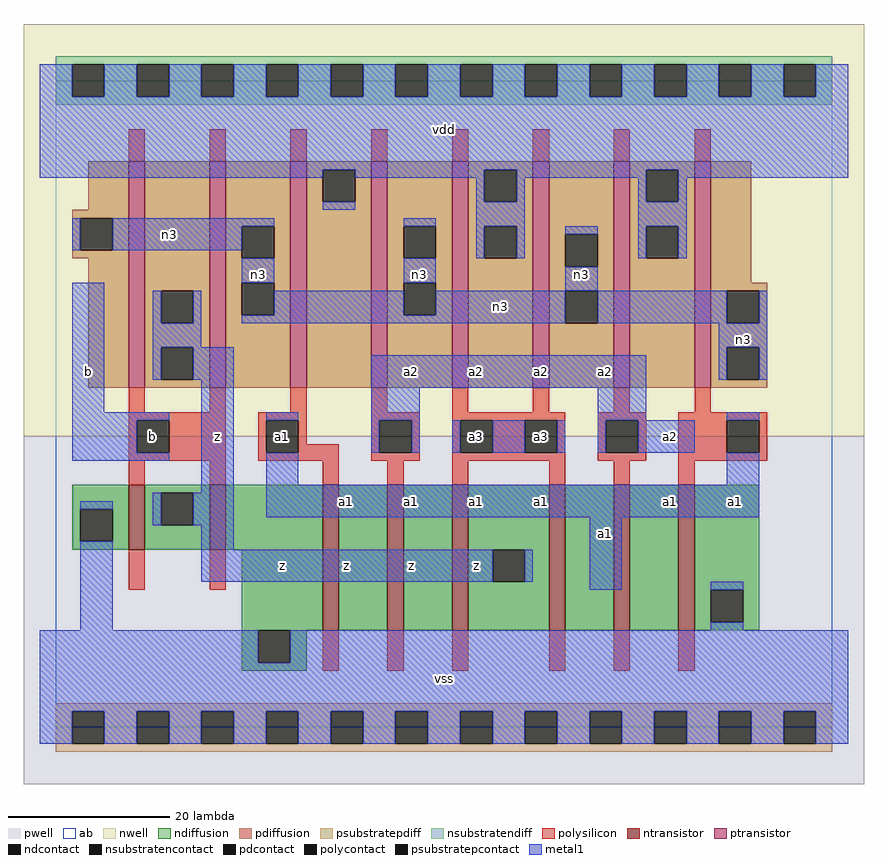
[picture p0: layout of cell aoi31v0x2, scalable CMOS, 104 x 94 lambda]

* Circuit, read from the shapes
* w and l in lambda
.subckt aoi31v0x2 a1 a2 a3 b n3 vdd vss z
M1 z b vss vss nfet w=8 l=2 m=2
M2 n1 a1 vss vss nfet w=18 l=2
M3 n2 a2 n1 vss nfet w=18 l=2
M4 z a3 n2 vss nfet w=18 l=2
M5 n4 a3 z vss nfet w=18 l=2
M6 n5 a2 n4 vss nfet w=18 l=2
M7 vss a1 n5 vss nfet w=18 l=2
M8 z b n3 vdd pfet w=28 l=2 m=2
M9 vdd a1 n3 vdd pfet w=28 l=2 m=2
M10 n3 a2 vdd vdd pfet w=28 l=2 m=2
M11 vdd a3 n3 vdd pfet w=28 l=2 m=2
.ends

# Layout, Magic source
magic
tech scmos
<< ab >>
rect 0 0 96 80
<< pwell >>
rect -4 -7 100 36
<< nwell >>
rect -4 36 100 87
<< polysilicon >>
rect 9 70 11 74
rect 19 70 21 74
rect 29 70 31 74
rect 39 70 41 74
rect 49 70 51 74
rect 59 70 61 74
rect 69 70 71 74
rect 79 70 81 74
rect 9 39 11 42
rect 19 39 21 42
rect 29 39 31 42
rect 9 38 21 39
rect 9 34 10 38
rect 14 34 21 38
rect 9 33 21 34
rect 25 38 31 39
rect 25 34 26 38
rect 30 35 31 38
rect 39 39 41 42
rect 49 39 51 42
rect 59 39 61 42
rect 69 39 71 42
rect 79 39 81 42
rect 39 38 45 39
rect 30 34 35 35
rect 25 33 35 34
rect 39 34 40 38
rect 44 34 45 38
rect 39 33 45 34
rect 49 38 63 39
rect 49 34 50 38
rect 54 34 58 38
rect 62 34 63 38
rect 49 33 63 34
rect 67 38 73 39
rect 67 34 68 38
rect 72 34 73 38
rect 67 33 73 34
rect 77 38 88 39
rect 77 34 83 38
rect 87 34 88 38
rect 77 33 88 34
rect 9 30 11 33
rect 19 30 21 33
rect 33 30 35 33
rect 41 30 43 33
rect 49 30 51 33
rect 61 30 63 33
rect 69 30 71 33
rect 77 30 79 33
rect 9 17 11 22
rect 19 17 21 22
rect 33 7 35 12
rect 41 7 43 12
rect 49 7 51 12
rect 61 7 63 12
rect 69 7 71 12
rect 77 7 79 12
<< ndiffusion >>
rect 2 27 9 30
rect 2 23 3 27
rect 7 23 9 27
rect 2 22 9 23
rect 11 29 19 30
rect 11 25 13 29
rect 17 25 19 29
rect 11 22 19 25
rect 21 22 33 30
rect 23 12 33 22
rect 35 12 41 30
rect 43 12 49 30
rect 51 22 61 30
rect 51 18 54 22
rect 58 18 61 22
rect 51 12 61 18
rect 63 12 69 30
rect 71 12 77 30
rect 79 17 87 30
rect 79 13 81 17
rect 85 13 87 17
rect 79 12 87 13
rect 23 8 25 12
rect 29 8 31 12
rect 23 7 31 8
<< pdiffusion >>
rect 4 64 9 70
rect 2 63 9 64
rect 2 59 3 63
rect 7 59 9 63
rect 2 58 9 59
rect 4 42 9 58
rect 11 54 19 70
rect 11 50 13 54
rect 17 50 19 54
rect 11 47 19 50
rect 11 43 13 47
rect 17 43 19 47
rect 11 42 19 43
rect 21 62 29 70
rect 21 58 23 62
rect 27 58 29 62
rect 21 55 29 58
rect 21 51 23 55
rect 27 51 29 55
rect 21 42 29 51
rect 31 69 39 70
rect 31 65 33 69
rect 37 65 39 69
rect 31 42 39 65
rect 41 62 49 70
rect 41 58 43 62
rect 47 58 49 62
rect 41 55 49 58
rect 41 51 43 55
rect 47 51 49 55
rect 41 42 49 51
rect 51 69 59 70
rect 51 65 53 69
rect 57 65 59 69
rect 51 62 59 65
rect 51 58 53 62
rect 57 58 59 62
rect 51 42 59 58
rect 61 61 69 70
rect 61 57 63 61
rect 67 57 69 61
rect 61 54 69 57
rect 61 50 63 54
rect 67 50 69 54
rect 61 42 69 50
rect 71 69 79 70
rect 71 65 73 69
rect 77 65 79 69
rect 71 62 79 65
rect 71 58 73 62
rect 77 58 79 62
rect 71 42 79 58
rect 81 55 86 70
rect 81 54 88 55
rect 81 50 83 54
rect 87 50 88 54
rect 81 47 88 50
rect 81 43 83 47
rect 87 43 88 47
rect 81 42 88 43
<< metal1 >>
rect -2 78 2 82
rect 6 78 10 82
rect 14 78 18 82
rect 22 78 26 82
rect 30 78 34 82
rect 38 78 42 82
rect 46 78 50 82
rect 54 78 58 82
rect 62 78 66 82
rect 70 78 74 82
rect 78 78 82 82
rect 86 78 90 82
rect 94 78 98 82
rect -2 69 98 78
rect -2 68 33 69
rect 37 68 53 69
rect 33 64 37 65
rect 52 65 53 68
rect 57 68 73 69
rect 57 65 58 68
rect 2 59 3 63
rect 7 62 27 63
rect 7 59 23 62
rect 23 55 27 58
rect 2 39 6 55
rect 12 50 13 54
rect 17 50 18 54
rect 43 62 47 63
rect 52 62 58 65
rect 72 65 73 68
rect 77 68 98 69
rect 77 65 78 68
rect 72 62 78 65
rect 52 58 53 62
rect 57 58 58 62
rect 63 61 67 62
rect 43 55 47 58
rect 27 51 43 54
rect 72 58 73 62
rect 77 58 78 62
rect 63 54 67 57
rect 47 51 63 54
rect 23 50 63 51
rect 67 50 83 54
rect 87 50 88 54
rect 12 47 18 50
rect 82 47 88 50
rect 12 43 13 47
rect 17 43 22 47
rect 2 38 14 39
rect 2 34 10 38
rect 2 33 14 34
rect 18 29 22 43
rect 39 42 73 46
rect 82 43 83 47
rect 87 43 88 47
rect 3 27 7 28
rect 12 25 13 29
rect 17 25 22 29
rect 26 38 30 39
rect 39 38 45 42
rect 67 38 73 42
rect 83 38 87 39
rect 39 34 40 38
rect 44 34 45 38
rect 49 34 50 38
rect 54 34 58 38
rect 62 34 63 38
rect 67 34 68 38
rect 72 34 79 38
rect 26 30 30 34
rect 83 30 87 34
rect 26 26 87 30
rect 3 12 7 23
rect 18 22 22 25
rect 18 18 54 22
rect 58 18 59 22
rect 66 17 70 26
rect 81 17 85 18
rect 81 12 85 13
rect -2 8 25 12
rect 29 8 98 12
rect -2 2 98 8
rect -2 -2 2 2
rect 6 -2 10 2
rect 14 -2 18 2
rect 22 -2 26 2
rect 30 -2 34 2
rect 38 -2 42 2
rect 46 -2 50 2
rect 54 -2 58 2
rect 62 -2 66 2
rect 70 -2 74 2
rect 78 -2 82 2
rect 86 -2 90 2
rect 94 -2 98 2
<< ntransistor >>
rect 9 22 11 30
rect 19 22 21 30
rect 33 12 35 30
rect 41 12 43 30
rect 49 12 51 30
rect 61 12 63 30
rect 69 12 71 30
rect 77 12 79 30
<< ptransistor >>
rect 9 42 11 70
rect 19 42 21 70
rect 29 42 31 70
rect 39 42 41 70
rect 49 42 51 70
rect 59 42 61 70
rect 69 42 71 70
rect 79 42 81 70
<< polycontact >>
rect 10 34 14 38
rect 26 34 30 38
rect 40 34 44 38
rect 50 34 54 38
rect 58 34 62 38
rect 68 34 72 38
rect 83 34 87 38
<< ndcontact >>
rect 3 23 7 27
rect 13 25 17 29
rect 54 18 58 22
rect 81 13 85 17
rect 25 8 29 12
<< pdcontact >>
rect 3 59 7 63
rect 13 50 17 54
rect 13 43 17 47
rect 23 58 27 62
rect 23 51 27 55
rect 33 65 37 69
rect 43 58 47 62
rect 43 51 47 55
rect 53 65 57 69
rect 53 58 57 62
rect 63 57 67 61
rect 63 50 67 54
rect 73 65 77 69
rect 73 58 77 62
rect 83 50 87 54
rect 83 43 87 47
<< psubstratepcontact >>
rect 2 -2 6 2
rect 10 -2 14 2
rect 18 -2 22 2
rect 26 -2 30 2
rect 34 -2 38 2
rect 42 -2 46 2
rect 50 -2 54 2
rect 58 -2 62 2
rect 66 -2 70 2
rect 74 -2 78 2
rect 82 -2 86 2
rect 90 -2 94 2
<< nsubstratencontact >>
rect 2 78 6 82
rect 10 78 14 82
rect 18 78 22 82
rect 26 78 30 82
rect 34 78 38 82
rect 42 78 46 82
rect 50 78 54 82
rect 58 78 62 82
rect 66 78 70 82
rect 74 78 78 82
rect 82 78 86 82
rect 90 78 94 82
<< psubstratepdiff >>
rect 0 2 96 3
rect 0 -2 2 2
rect 6 -2 10 2
rect 14 -2 18 2
rect 22 -2 26 2
rect 30 -2 34 2
rect 38 -2 42 2
rect 46 -2 50 2
rect 54 -2 58 2
rect 62 -2 66 2
rect 70 -2 74 2
rect 78 -2 82 2
rect 86 -2 90 2
rect 94 -2 96 2
rect 0 -3 96 -2
<< nsubstratendiff >>
rect 0 82 96 83
rect 0 78 2 82
rect 6 78 10 82
rect 14 78 18 82
rect 22 78 26 82
rect 30 78 34 82
rect 38 78 42 82
rect 46 78 50 82
rect 54 78 58 82
rect 62 78 66 82
rect 70 78 74 82
rect 78 78 82 82
rect 86 78 90 82
rect 94 78 96 82
rect 0 77 96 78
<< labels >>
rlabel metal1 4 44 4 44 6 b
rlabel polycontact 12 36 12 36 6 b
rlabel metal1 28 20 28 20 6 z
rlabel metal1 20 36 20 36 6 z
rlabel polycontact 28 36 28 36 6 a1
rlabel metal1 25 56 25 56 6 n3
rlabel metal1 14 61 14 61 6 n3
rlabel metal1 48 6 48 6 6 vss
rlabel metal1 36 20 36 20 6 z
rlabel metal1 36 28 36 28 6 a1
rlabel metal1 44 20 44 20 6 z
rlabel metal1 44 28 44 28 6 a1
rlabel metal1 52 20 52 20 6 z
rlabel metal1 52 28 52 28 6 a1
rlabel metal1 44 44 44 44 6 a2
rlabel polycontact 52 36 52 36 6 a3
rlabel metal1 52 44 52 44 6 a2
rlabel metal1 45 56 45 56 6 n3
rlabel metal1 48 74 48 74 6 vdd
rlabel metal1 60 28 60 28 6 a1
rlabel metal1 68 24 68 24 6 a1
rlabel metal1 76 28 76 28 6 a1
rlabel polycontact 60 36 60 36 6 a3
rlabel metal1 60 44 60 44 6 a2
rlabel metal1 68 44 68 44 6 a2
rlabel metal1 76 36 76 36 6 a2
rlabel metal1 65 56 65 56 6 n3
rlabel metal1 84 28 84 28 6 a1
rlabel metal1 85 48 85 48 6 n3
rlabel metal1 55 52 55 52 6 n3
<< end >>
